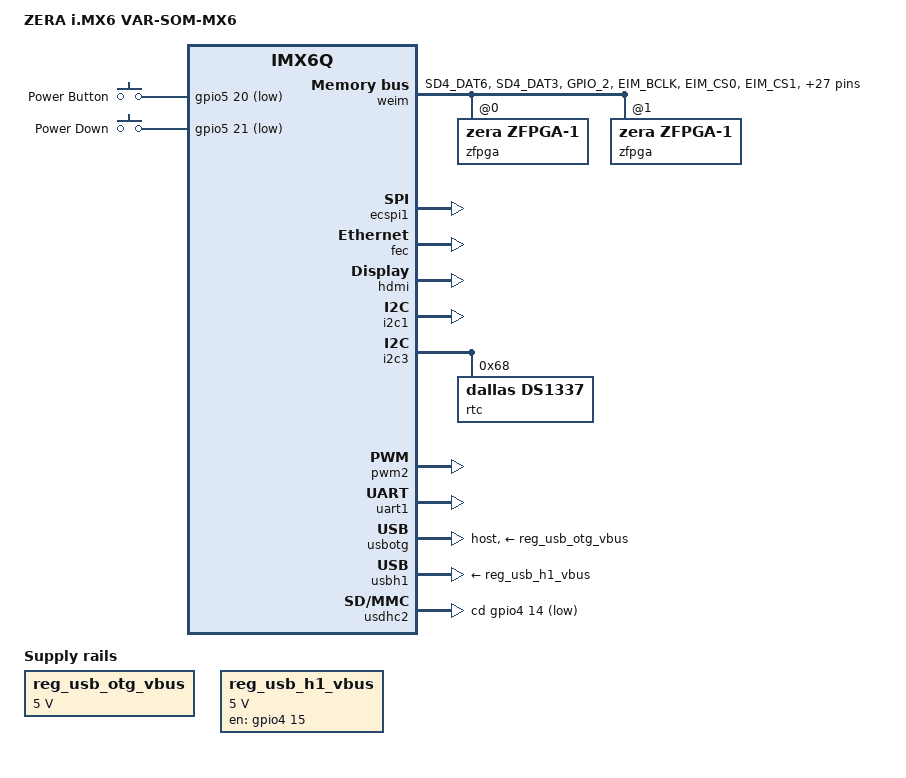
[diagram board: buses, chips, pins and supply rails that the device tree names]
/dts-v1/;

#include "imx6q.dtsi"
#include "imx6qdl-var-som.dtsi"
#include <dt-bindings/input/linux-event-codes.h>
#include <dt-bindings/gpio/gpio.h>

/ {
	model = "ZERA i.MX6 VAR-SOM-MX6";
	compatible = "variscite,var-som", "fsl,imx6q";

	/* ZERA */
	gpio-keys {
		compatible = "gpio-keys";
		pinctrl-names = "default";
		pinctrl-0 = <&pinctrl_gpio_keys>;

		power-button {
			label = "Power Button";
			gpios = <&gpio5 20 GPIO_ACTIVE_LOW>;
			linux,code = <KEY_POWER>;
			gpio-key,wakeup;
		};
		power-down {
			label = "Power Down";
			gpios = <&gpio5 21 GPIO_ACTIVE_LOW>;
			linux,code = <KEY_POWER>;
			gpio-key,wakeup;
		};
	};

	/* Variscite */
	reg_usb_otg_vbus: regulator-usbotgvbus {
		compatible = "regulator-fixed";
		regulator-name = "usb_otg_vbus";
		regulator-min-microvolt = <5000000>;
		regulator-max-microvolt = <5000000>;
		regulator-always-on;
	};
	reg_usb_h1_vbus: regulator-usbh1vbus {
		compatible = "regulator-fixed";
		regulator-name = "usb_h1_vbus";
		regulator-min-microvolt = <5000000>;
		regulator-max-microvolt = <5000000>;
		gpio = <&gpio4 15 GPIO_ACTIVE_HIGH>;
		enable-active-high;
		regulator-always-on;
	};

	sound {
		compatible = "simple-audio-card";
		simple-audio-card,name = "tlv320aic3106-audio";
		simple-audio-card,format = "i2s";
		simple-audio-card,bitclock-master = <&sound_codec>;
		simple-audio-card,frame-master = <&sound_codec>;
		simple-audio-card,widgets = "Headphone", "Headphone Jack",
					    "Line", "Line In";
		simple-audio-card,routing = "Headphone Jack", "HPLOUT",
					    "Headphone Jack", "HPROUT",
					    "LINE1L", "Line In",
					    "LINE1R", "Line In";

		sound_cpu: simple-audio-card,cpu {
			sound-dai = <&ssi2>;
		};

		sound_codec: simple-audio-card,codec {
			sound-dai = <&tlv320aic3106>;
			clocks = <&clks IMX6QDL_CLK_CKO>;
		};
	};
};


/* pinmuxing

    howto:
        1. check i.MX6 Dual/Quad Application Reference Manual / chapter 4.1.2 / e.g 'EIM - External Interface Module'
           for pad name
        2. search arch/arm/boot/dts/imx6q-pinfunc.h for available pinmux names as 'MX6QDL_PAD_<pad name>_...' 
        3. select pinmux
           e.g EIM_DA0 -> MX6QDL_PAD_EIM_DA0__EIM_AD00
        4. look for pad CONFIG (=value we have to set here) register location 
           (2nd tupel entry in arch/arm/boot/dts/imx6q-pinfunc.h) e.g MX6QDL_PAD_EIM_DA0__EIM_AD00 -> 0x428
        5. search in Reference Manual for 20E_<pad config> (should be somewhere in Reference Manual chapter 36.4)
           e.g MX6QDL_PAD_EIM_DA0__EIM_AD00 -> 20E_0428
        6. setup pad config e.g  (see also Reference Manual chapter 28.4.2 for GPIO pin details on pull/keep and
           DSE+SRE+SPEED / operating frequency):
           for example:
                       0x1 b    0    b    1
                       0b1 1011 0000 1011 0001 means

           Bit 16    / 0b1 xxxx xxxx xxxx xxxx => 1:   Schmitt trigger enabled
           Bit 15-14 / 0bx 10xx xxxx xxxx xxxx => 10:  100K pull up
           Bit 13    / 0bx xx1x xxxx xxxx xxxx => 1:   pull selected
           Bit 12    / 0bx xxx1 xxxx xxxx xxxx => 1:   pull enabled
           Bit 11    / 0bx xxxx 0xxx xxxx xxxx => 0:   output is CMOS
           Bit 10-8  / 0bx xxxx x000 xxxx xxxx => 000: reserverd to 000
           Bit 7-6   / 0bx xxxx xxxx 10xx xxxx => 10:  speed (SPEED): medium 100,150MHz
           Bit 5-3   / 0bx xxxx xxxx xx11 0xxx => 110: drive strength (DSE): 25 Ohm @ 3,3V / 40 Ohm @ 1,8V
           Bit 2-1   / 0bx xxxx xxxx xxxx x00x => 00:  reserverd to 00
           Bit 0     / 0bx xxxx xxxx xxxx xxx1 => 1:   Slew rate (SRE): fast

           Note: see Reference Manual/Table 28-9 -> operating frequency 150MHz
*/

&iomuxc {
	/* Variscite */
	pinctrl_usdhc2cdwp: usdhc2cdwpgrp {
		fsl,pins = <
      /* SDMMC2 CD/WP */
      MX6QDL_PAD_KEY_COL4__GPIO4_IO14		0x80000000
      MX6QDL_PAD_KEY_ROW4__GPIO4_IO15		0x80000000
		>;
	};

	/* ZFPGA I/O */
	pinctrl_zfpgamux_1: zfpgamux-1 {
		fsl,pins = <
			MX6QDL_PAD_SD4_DAT6__GPIO2_IO14 0x1a8b1	   /* LCA_IRQ as open drain no pullup (external) */
			MX6QDL_PAD_SD4_DAT3__GPIO2_IO11 0x1b0b1	   /* LCA_DONE */
			MX6QDL_PAD_GPIO_2__GPIO1_IO02   0x80000000 /* LCA_RESET */
		>;
	};

	/* Power: Button / PowerSupply off detect */
	pinctrl_gpio_keys: gpio_keysgrp {
		fsl,pins = <
			/* PowerOn/Off buttons */
			MX6QDL_PAD_CSI0_DATA_EN__GPIO5_IO20 0x17059
			MX6QDL_PAD_CSI0_VSYNC__GPIO5_IO21   0x17059
		>;
	};

	/* ZFPGA WEIM */
	pinctrl_weim_zfpga: weim_zfpga-1 {
		fsl,pins = <
			/* EIM control outputs */
			MX6QDL_PAD_EIM_BCLK__EIM_BCLK    0x0b0b9
			MX6QDL_PAD_EIM_CS0__EIM_CS0_B    0x0b0b1
			MX6QDL_PAD_EIM_CS1__EIM_CS1_B    0x0b0b1
			MX6QDL_PAD_EIM_EB0__EIM_EB0_B    0x0b0b1
			MX6QDL_PAD_EIM_EB1__EIM_EB1_B    0x0b0b1
			MX6QDL_PAD_EIM_OE__EIM_OE_B      0x0b0b1
			MX6QDL_PAD_EIM_RW__EIM_RW        0x0b0b1
			MX6QDL_PAD_EIM_LBA__EIM_LBA_B    0x0b0b1

			/* EIM control inputs */
			MX6QDL_PAD_EIM_WAIT__EIM_DTACK_B 0x1b0b1

			/* EIM data/address */
			MX6QDL_PAD_EIM_DA0__EIM_AD00     0x1b0b1
			MX6QDL_PAD_EIM_DA1__EIM_AD01     0x1b0b1
			MX6QDL_PAD_EIM_DA2__EIM_AD02     0x1b0b1
			MX6QDL_PAD_EIM_DA3__EIM_AD03     0x1b0b1
			MX6QDL_PAD_EIM_DA4__EIM_AD04     0x1b0b1
			MX6QDL_PAD_EIM_DA5__EIM_AD05     0x1b0b1
			MX6QDL_PAD_EIM_DA6__EIM_AD06     0x1b0b1
			MX6QDL_PAD_EIM_DA7__EIM_AD07     0x1b0b1
			MX6QDL_PAD_EIM_DA8__EIM_AD08     0x1b0b1
			MX6QDL_PAD_EIM_DA9__EIM_AD09     0x1b0b1
			MX6QDL_PAD_EIM_DA10__EIM_AD10    0x1b0b1
			MX6QDL_PAD_EIM_DA11__EIM_AD11    0x1b0b1
			MX6QDL_PAD_EIM_DA12__EIM_AD12    0x1b0b1
			MX6QDL_PAD_EIM_DA13__EIM_AD13    0x1b0b1
			MX6QDL_PAD_EIM_DA14__EIM_AD14    0x1b0b1
			MX6QDL_PAD_EIM_DA15__EIM_AD15    0x1b0b1

			/* EIM address */
			MX6QDL_PAD_EIM_A20__EIM_ADDR20   0x0b0b1
			MX6QDL_PAD_EIM_A19__EIM_ADDR19   0x0b0b1
			MX6QDL_PAD_EIM_A18__EIM_ADDR18   0x0b0b1
			MX6QDL_PAD_EIM_A17__EIM_ADDR17   0x0b0b1
			MX6QDL_PAD_EIM_A16__EIM_ADDR16   0x0b0b1
		>;
	};
};

/* EIM settings - still have no idea why they call it 'wireless'... */
&weim {
	pinctrl-names = "default";
	pinctrl-0 = <&pinctrl_zfpgamux_1 &pinctrl_weim_zfpga>;

	#address-cells = <2>;
	#size-cells = <1>;
	/* address translation - friends are: Documentation/<..>/imx-weim.txt / `cat /proc/iomem` /
		 i.MX 6Dual/6Quad Applications Processor Reference Manual chapter 2 'Memory Maps' -> EIM
		 to get CS working properly with weim-cs-gpr, the values here are fixed for number of CS
		 used */
	ranges = <0 0 0x08000000 0x04000000     // CS0
	          1 0 0x0C000000 0x04000000>;   // CS1
	fsl,weim-cs-gpr = <&gpr>;
    
	/* ??? TODO: pin conflict with ecspi1, i2c3 and uart3 ??? */
	status = "okay";

	/* CS0 */
	zfpga@0,0 {
		compatible = "zera,zfpga-1";
		/* CS0/StartAddrNode1/LengthNode1 / CS0/StartAddrNode2/LengthNode2 / ... */
		reg = <0 0x00000000 0x00001000   /* reg1 */
			0 0x00001000 0x00000020   /* dsp1 */
			0 0x00001400 0x00000020   /* dsp2 */
			0 0x00002000 0x00000001   /* boot */
			0 0x00003000 0x00001000   /* ec1  */
			0 0x00004000 0x00001000   /* msg1  */
			0 0x00010000 0x00010000>;   /* dbg  */
			
		fsl,weim-cs-timing = <0x01a10c09 0x00001100 /* EIM Chip-Select n General Configuration Register 1&2 */
			0x08023101 0x00000008 /* EIM Chip-Select n Read Configuration Register 1&2 */
			0x08049681 0x00000000 /* EIM Chip-Select n Write Configuration Register 1&2 */ >;

		/* device nodes/files (nodetype: 0:boot 1:reg 2:dsp 3:ec 4:msg 5:dbg 6:source) */
		reg1 {
			nodename = "zFPGA1reg";
			nodetype = <1>;
			interrupt-parent = <&gpio2>;
			/* interrupts: tupels of pin no / interrupt type (see
			Documentation/devicetree/bindings/gpio/fsl-imx-gpio.txt) */
			interrupts = <14 8>; /* low level triggered to ensure firing until all handled */
			/* align endianess for all access withs (EIM has special ideas for 32Bit access) */
			endian32 = /bits/ 8 <2 3 0 1>;
		};
		dsp1 {
			nodename = "zFPGA1dsp1";
			nodetype = <2>;
			interrupt-parent = <&gpio2>;
			/* interrupts: tupels of pin no / interrupt type (see
			Documentation/devicetree/bindings/gpio/fsl-imx-gpio.txt) */
			interrupts = <14 8>; /* low level triggered to ensure firing until all handled */
			/* align endianess for all access withs (EIM has special ideas for 32Bit access) */
			endian32 = /bits/ 8 <2 3 0 1>;
		};
		dsp2 {
			nodename = "zFPGA1dsp2";
			nodetype = <2>;
			interrupt-parent = <&gpio2>;
			/* interrupts: tupels of pin no / interrupt type (see
			Documentation/devicetree/bindings/gpio/fsl-imx-gpio.txt) */
			interrupts = <14 8>; /* low level triggered to ensure firing until all handled */
			/* align endianess for all access withs (EIM has special ideas for 32Bit access) */
			endian32 = /bits/ 8 <2 3 0 1>;
		};
		boot1 { /* there is only one boot device allowed currently */
			nodename = "zFPGA1boot";
			nodetype = <0>;
			bytes-per-transaction = <4>;
			/* gpio: tupel of port/pin/flag - note that flag is ignored */
			gpio-reset = <&gpio1 2  GPIO_ACTIVE_HIGH>;
			gpio-done =  <&gpio2 11 GPIO_ACTIVE_HIGH>;	/* is neccessary as it is read in interrupt service */
			interrupt-parent = <&gpio2>;
			/* interrupts: tupels of pin no / interrupt type (see
			Documentation/devicetree/bindings/gpio/fsl-imx-gpio.txt) */
			interrupts = <11 3>; /* both edges triggered */
			/* align endianess for all access withs (EIM has special ideas for 32Bit access) */
			endian32 = /bits/ 8 <2 3 0 1>;
		};
		ec1 {
			nodename = "zFPGA1ec";
			nodetype = <3>;
			interrupt-parent = <&gpio2>;
			/* interrupts: tupels of pin no / interrupt type (see
			Documentation/devicetree/bindings/gpio/fsl-imx-gpio.txt) */
			interrupts = <14 8>; /* low level triggered to ensure firing until all handled */
			/* align endianess for all access withs (EIM has special ideas for 32Bit access) */
			endian32 = /bits/ 8 <2 3 0 1>;
		};
		msg1 {
			nodename = "zFPGA1msg";
			nodetype = <4>;
			interrupt-parent = <&gpio2>;
			/* interrupts: tupels of pin no / interrupt type (see
			Documentation/devicetree/bindings/gpio/fsl-imx-gpio.txt) */
			interrupts = <14 8>; /* low level triggered to ensure firing until all handled */
			/* align endianess for all access withs (EIM has special ideas for 32Bit access) */
			endian32 = /bits/ 8 <2 3 0 1>;
		};
		dbg1 {
			nodename = "zFPGA1dbg";
			nodetype = <5>;
			/* align endianess for all access withs (EIM has special ideas for 32Bit access) */
			endian32 = /bits/ 8 <2 3 0 1>;
		};
	};
	
	/* CS1 */
	zfpga@1,0 {
		compatible = "zera,zfpga-1";
		/* CS0/StartAddrNode1/LengthNode1 / CS0/StartAddrNode2/LengthNode2 / ... */
		reg = <1 0x00000000 0x00070000>; /* source */
					
		fsl,weim-cs-timing = <0x71813C3F 0x00001002 /* EIM Chip-Select n General Configuration Register 1&2 */
			0x03000000 0x00000000 /* EIM Chip-Select n Read Configuration Register 1&2 */
			0x02040000 0x00000000 /* EIM Chip-Select n Write Configuration Register 1&2 */ >;
        
        fsl,burst-clk-enable;
				
		source1 {
			nodename = "zFPGA1source";
			nodetype = <6>;
			interrupt-parent = <&gpio2>;
			/* interrupts: tupels of pin no / interrupt type (see
			Documentation/devicetree/bindings/gpio/fsl-imx-gpio.txt) */
			interrupts = <14 8>; /* low level triggered to ensure firing until all handled */
			/* align endianess for all access withs (EIM has special ideas for 32Bit access) */
			endian32 = /bits/ 8 <2 3 0 1>;
		};
	};
};

/* Variscite defaults */
&ecspi1 {
	cs-gpios = <&gpio4 9 GPIO_ACTIVE_HIGH>,
		   <&gpio4 10 GPIO_ACTIVE_HIGH>;
	status = "okay";
};

&fec {
	status = "okay";
};

&hdmi {
	status = "okay";
};

/* is free on starterkit - so it remains disabled */
&i2c1 {
	status = "okay";
};

&i2c3 {
	status = "okay";
	rtc@0x68 {
		compatible = "dallas,ds1337";
		reg = <0x68>;
	};
};

&pwm2 {
	status = "okay";
};

&uart1 {
	status = "okay";
};

/*&uart3 {
	status = "okay";
};*/

&usbotg {
	pinctrl-names = "default";
	vbus-supply = <&reg_usb_otg_vbus>;
	disable-over-current;
	dr_mode = "host";
	status = "okay";
};

&usbh1 {
	vbus-supply = <&reg_usb_h1_vbus>;
	status = "okay";
};

&usdhc2 {
	pinctrl-names = "default";
	pinctrl-1 = <&pinctrl_usdhc2cdwp>;
	cd-gpios = <&gpio4 14 GPIO_ACTIVE_LOW>;
	/*wp-gpios = <&gpio4 15 GPIO_ACTIVE_HIGH>;*/
	status = "okay";
};

